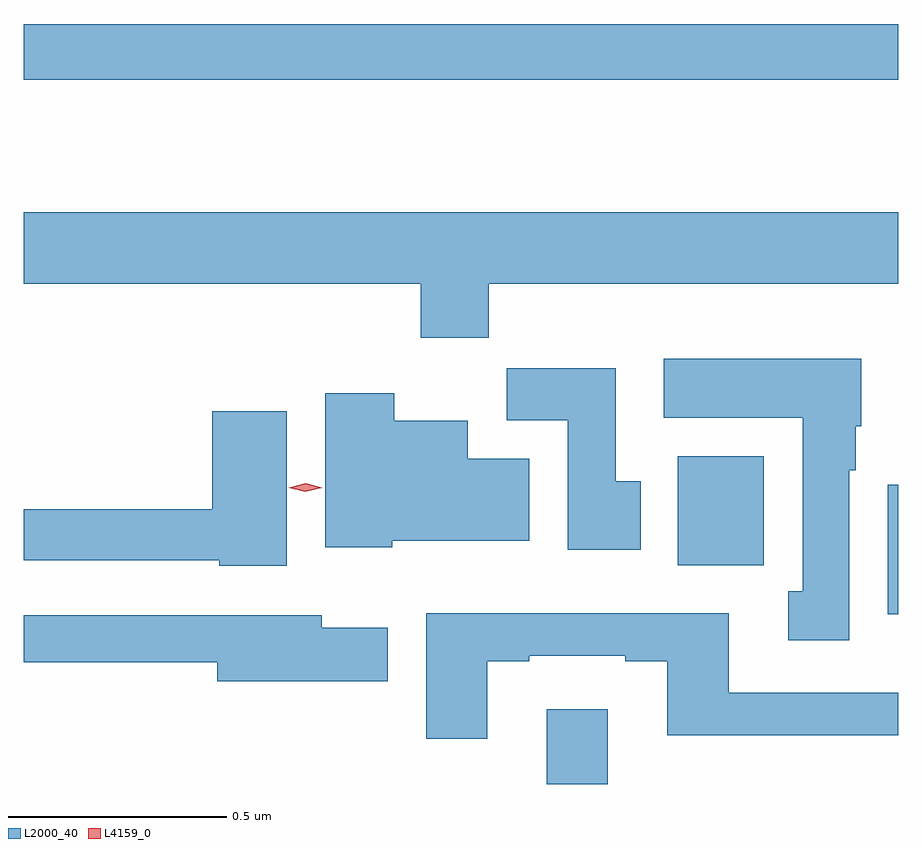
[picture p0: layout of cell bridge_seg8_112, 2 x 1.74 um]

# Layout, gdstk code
import gdstk
lib = gdstk.Library(unit=1e-6, precision=1e-09)
def R(c, l, rs):  # rectangles x0, y0, x1, y1
    for r in rs: c.add(gdstk.rectangle(r[:2], r[2:], *l))
def P(c, l, *ps):  # polygons
    for p in ps: c.add(gdstk.Polygon(p, *l))
L2000_40 = (2000, 40)
L4159_0 = (4159, 0)

bridge_seg8_112 = lib.new_cell('bridge_seg8_112')
R(bridge_seg8_112, L2000_40, [(826.991,1130.008,827.131,1130.179), (827.771,1130.396,827.795,1130.692), (827.291,1130.508,827.487,1130.758), (825.795,1131.618,827.795,1131.746)])
P(bridge_seg8_112, L2000_40, [(826.859,1131.152),(827.795,1131.152),(827.795,1131.316),(825.795,1131.316),(825.795,1131.152),(826.703,1131.152),(826.703,1131.028),(826.859,1131.028)],
  [(827.683,1130.726),(827.698,1130.726),(827.698,1130.826),(827.71,1130.826),(827.71,1130.98),(827.259,1130.98),(827.259,1130.846),(827.576,1130.846),(827.576,1130.449),(827.543,1130.449),(827.543,1130.337),(827.683,1130.337)],
  [(827.206,1130.7),(827.149,1130.7),(827.149,1130.959),(826.9,1130.959),(826.9,1130.84),(827.039,1130.84),(827.039,1130.544),(827.206,1130.544)],
  [(826.638,1130.564),(826.951,1130.564),(826.951,1130.752),(826.81,1130.752),(826.81,1130.839),(826.642,1130.839),(826.642,1130.902),(826.484,1130.902),(826.484,1130.549),(826.638,1130.549)],
  [(826.396,1130.86),(826.226,1130.86),(826.226,1130.636),(825.795,1130.636),(825.795,1130.52),(826.242,1130.52),(826.242,1130.507),(826.396,1130.507)],
  [(826.855,1130.289),(826.951,1130.289),(826.951,1130.301),(827.171,1130.301),(827.171,1130.289),(827.267,1130.289),(827.267,1130.12),(827.795,1130.12),(827.795,1130.217),(827.407,1130.217),(827.407,1130.398),(826.715,1130.398),(826.715,1130.112),(826.855,1130.112)],
  [(826.627,1130.365),(826.477,1130.365),(826.477,1130.394),(825.795,1130.394),(825.795,1130.286),(826.238,1130.286),(826.238,1130.243),(826.627,1130.243)])
P(bridge_seg8_112, L4159_0, [(826.439,1130.676),(826.401,1130.686),(826.401,1130.686),(826.401,1130.686),(826.44,1130.696),(826.478,1130.686),(826.478,1130.686),(826.478,1130.686)])

lib.write_gds('bridge_seg8_112.gds')
